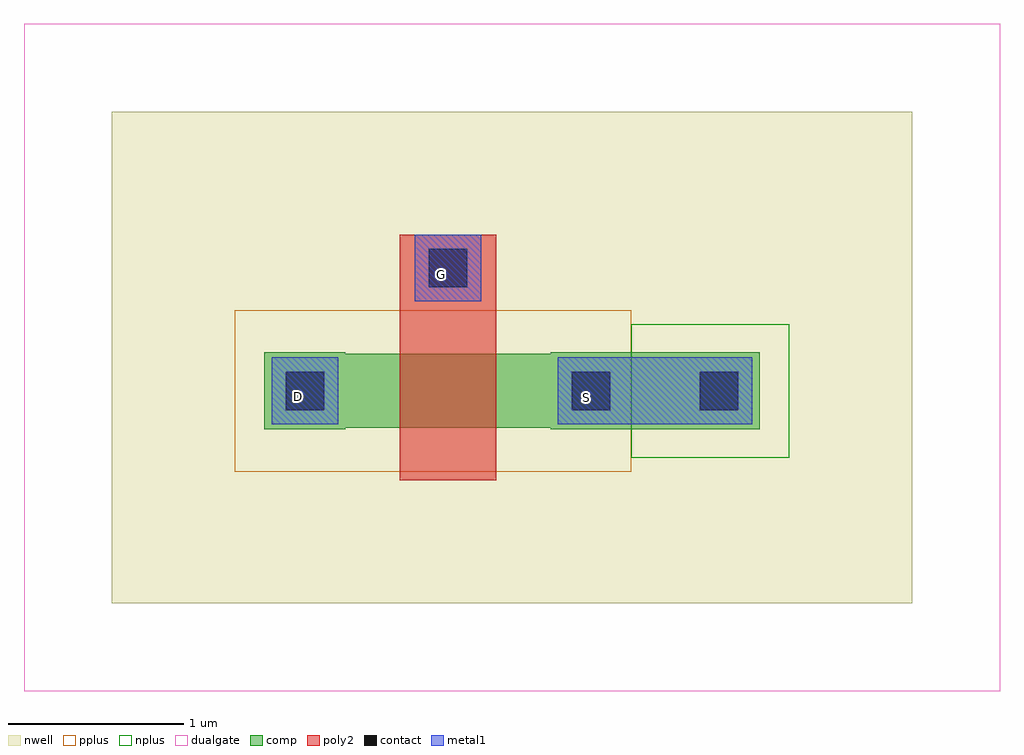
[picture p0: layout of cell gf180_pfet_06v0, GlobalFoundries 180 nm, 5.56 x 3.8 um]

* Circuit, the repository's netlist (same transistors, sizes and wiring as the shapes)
* Extracted by KLayout with GF180MCU LVS runset on : 18/08/2026 14:27

* cell gf180_pfet_06v0
* pin B
* pin D
* pin G
* pin S
.SUBCKT gf180_pfet_06v0 B D G S
* device instance $1 r0 *1 2.415,1.71 pfet_06v0
M$1 S G D B pfet_06v0 L=0.55U W=0.42U AS=0.3326P AD=0.3326P PS=2.42U PD=2.42U
.ENDS gf180_pfet_06v0

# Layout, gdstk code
import gdstk
lib = gdstk.Library(unit=1e-6, precision=1e-09)
def R(c, l, rs):  # rectangles x0, y0, x1, y1
    for r in rs: c.add(gdstk.rectangle(r[:2], r[2:], *l))
def P(c, l, *ps):  # polygons
    for p in ps: c.add(gdstk.Polygon(p, *l))
nwell = (21, 0)
comp = (22, 0)
poly2 = (30, 0)
pplus = (31, 0)
nplus = (32, 0)
contact = (33, 0)
metal1 = (34, 0)
dualgate = (55, 0)

pfet = lib.new_cell('pfet')
R(pfet, nwell, [(-1.33,-1,3.23,1.8)])
P(pfet, comp, [(-0.46,-0.01),(-0.46,0.43),(0,0.43),(0,0.42),(1.17,0.42),(1.17,0.43),(2.36,0.43),(2.36,-0.01),(1.17,-0.01),(1.17,0),(0,0),(0,-0.01)])
R(pfet, poly2, [(0.31,-0.3,0.86,1.1)])
R(pfet, pplus, [(-0.63,-0.25,1.63,0.67)])
R(pfet, nplus, [(1.63,-0.17,2.53,0.59)])
R(pfet, contact, [(-0.34,0.1,-0.12,0.32), (1.29,0.1,1.51,0.32), (2.02,0.1,2.24,0.32), (0.475,0.8,0.695,1.02)])
R(pfet, metal1, [(-0.42,0.02,-0.04,0.4), (1.21,0.02,1.59,0.4), (1.94,0.02,2.32,0.4), (0.395,0.72,0.775,1.1)])
R(pfet, dualgate, [(-1.83,-1.5,3.73,2.3)])

gf180_pfet_06v0 = lib.new_cell('gf180_pfet_06v0')
gf180_pfet_06v0.add(gdstk.FlexPath([(3.42,1.71),(3.77,1.71)], 0.38, ends="flush", simple_path=True, layer=34, datatype=0))  # metal1
gf180_pfet_06v0.add(gdstk.Reference(pfet, (1.83,1.5)))
gf180_pfet_06v0.add(gdstk.Label('S', (3.205,1.67), layer=34, texttype=10))
gf180_pfet_06v0.add(gdstk.Label('D', (1.565,1.675), layer=34, texttype=10))
gf180_pfet_06v0.add(gdstk.Label('G', (2.38,2.375), layer=34, texttype=10))

lib.write_gds('gf180_pfet_06v0.gds')
